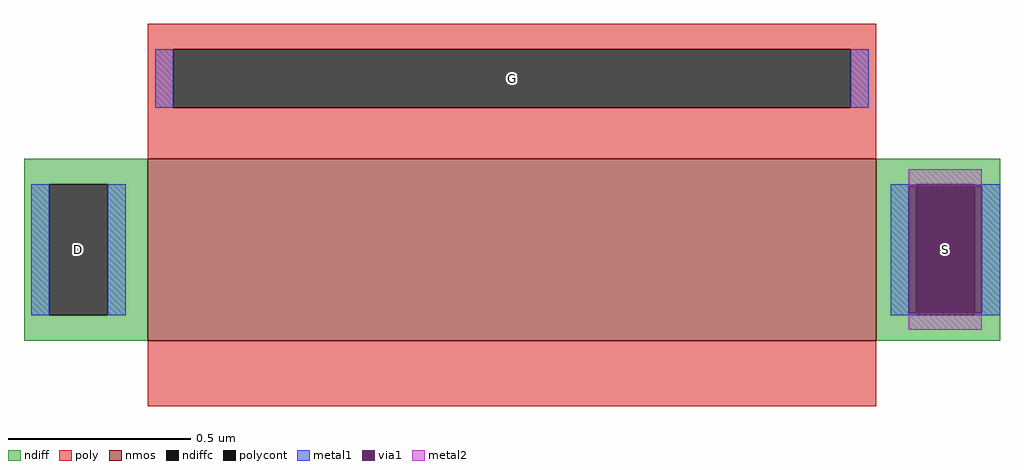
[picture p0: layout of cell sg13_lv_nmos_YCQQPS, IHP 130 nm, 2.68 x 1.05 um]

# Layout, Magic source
magic
tech ihp-sg13g2
magscale 1 2
<< nmos >>
rect -200 -69 200 31
<< ndiff >>
rect -268 17 -200 31
rect -268 -55 -254 17
rect -222 -55 -200 17
rect -268 -69 -200 -55
rect 200 17 268 31
rect 200 -55 222 17
rect 254 -55 268 17
rect 200 -69 268 -55
<< ndiffc >>
rect -254 -55 -222 17
rect 222 -55 254 17
<< poly >>
rect -200 91 200 105
rect -200 59 -186 91
rect 186 59 200 91
rect -200 31 200 59
rect -200 -105 200 -69
<< polycont >>
rect -186 59 186 91
<< metal1 >>
rect -196 59 -186 91
rect 186 59 196 91
rect -264 -55 -254 17
rect -222 -55 -212 17
rect 208 16 222 17
rect 254 16 268 17
rect 208 -54 218 16
rect 258 -54 268 16
rect 208 -55 222 -54
rect 254 -55 268 -54
<< via1 >>
rect 218 -54 222 16
rect 222 -54 254 16
rect 254 -54 258 16
<< metal2 >>
rect 218 16 258 25
rect 218 -63 258 -54
<< labels >>
rlabel ndiffc -238 -19 -238 -19 0 D
port 1 nsew
rlabel ndiffc 238 -19 238 -19 0 S
port 2 nsew
rlabel polycont 0 75 0 75 0 G
port 3 nsew
<< properties >>
string gencell sg13_lv_nmos
string library sg13g2
string parameters w 0.5 l 2 m 1 nf 1 diffcov 100 polycov 100 guard 0 glc 1 grc 1 gtc 1 gbc 1 tbcov 100 rlcov 100 topc 1 botc 0 poverlap 0 doverlap 1 lmin 0.13 wmin 0.15 class mosfet compatible {sg13_lv_nmos sg13_hv_nmos} full_metal 1 conn_gates 0 gate_ring 0 doports 1 viasrc 100 viadrn 0 viagate 0 ccols 1 viagb 0 viagr 0 viagl 0 viagt 0
<< end >>
